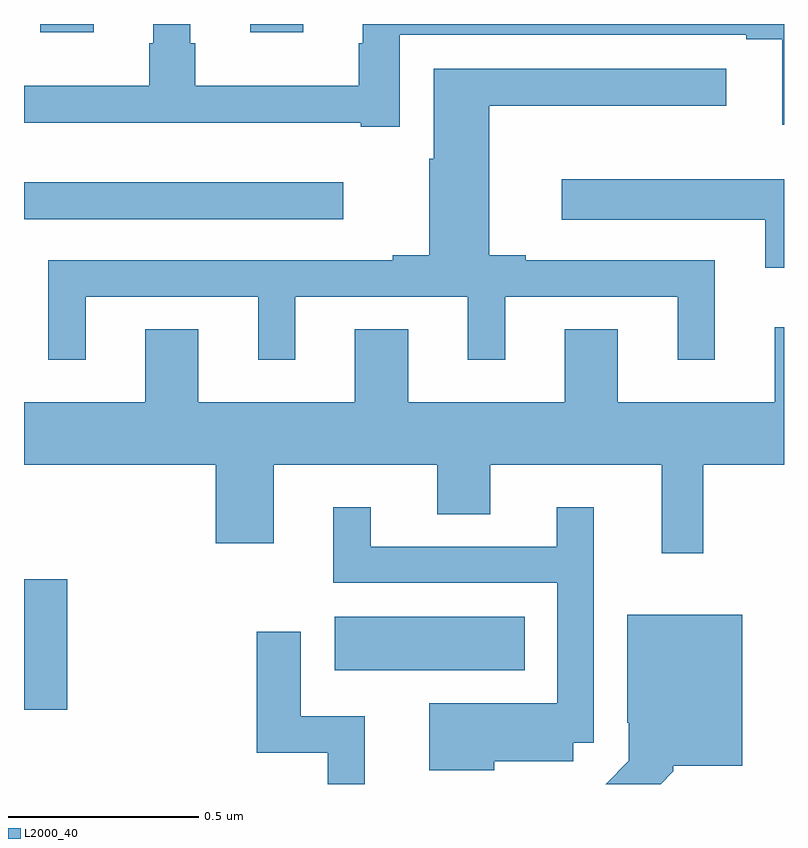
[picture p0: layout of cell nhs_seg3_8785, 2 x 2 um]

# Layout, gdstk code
import gdstk
lib = gdstk.Library(unit=1e-6, precision=1e-09)
def R(c, l, rs):  # rectangles x0, y0, x1, y1
    for r in rs: c.add(gdstk.rectangle(r[:2], r[2:], *l))
def P(c, l, *ps):  # polygons
    for p in ps: c.add(gdstk.Polygon(p, *l))
L2000_40 = (2000, 40)

nhs_seg3_8785 = lib.new_cell('nhs_seg3_8785')
R(nhs_seg3_8785, L2000_40, [(220,709.595,220.114,709.939), (220.818,709.7,221.318,709.84), (220,710.886,220.84,710.983), (220.043,711.378,220.183,711.4), (220.595,711.378,220.735,711.4)])
P(nhs_seg3_8785, L2000_40, [(220.989,711.372),(221.9,711.372),(221.9,711.36),(221.996,711.36),(221.996,711.135),(222,711.135),(222,711.4),(220.892,711.4),(220.892,711.35),(220.881,711.35),(220.881,711.238),(220.45,711.238),(220.45,711.35),(220.438,711.35),(220.438,711.4),(220.34,711.4),(220.34,711.35),(220.329,711.35),(220.329,711.238),(220,711.238),(220,711.14),(220.886,711.14),(220.886,711.129),(220.989,711.129)],
  [(220.162,710.682),(220.616,710.682),(220.616,710.517),(220.714,710.517),(220.714,710.682),(221.168,710.682),(221.168,710.517),(221.266,710.517),(221.266,710.682),(221.72,710.682),(221.72,710.517),(221.818,710.517),(221.818,710.778),(221.32,710.778),(221.32,710.791),(221.224,710.791),(221.224,711.185),(221.848,711.185),(221.848,711.282),(221.078,711.282),(221.078,711.045),(221.066,711.045),(221.066,710.791),(220.97,710.791),(220.97,710.778),(220.064,710.778),(220.064,710.517),(220.162,710.517)],
  [(222,710.992),(221.415,710.992),(221.415,710.885),(221.951,710.885),(221.951,710.759),(222,710.759)],
  [(221.563,710.597),(221.423,710.597),(221.423,710.404),(221.011,710.404),(221.011,710.597),(220.871,710.597),(220.871,710.404),(220.459,710.404),(220.459,710.597),(220.319,710.597),(220.319,710.404),(220,710.404),(220,710.24),(220.505,710.24),(220.505,710.034),(220.657,710.034),(220.657,710.24),(221.087,710.24),(221.087,710.11),(221.227,710.11),(221.227,710.24),(221.678,710.24),(221.678,710.007),(221.788,710.007),(221.788,710.24),(222,710.24),(222,710.602),(221.975,710.602),(221.975,710.404),(221.563,710.404)],
  [(221.238,709.46),(221.445,709.46),(221.445,709.509),(221.499,709.509),(221.499,710.128),(221.402,710.128),(221.402,710.025),(220.912,710.025),(220.912,710.128),(220.814,710.128),(220.814,709.929),(221.403,709.929),(221.403,709.612),(221.066,709.612),(221.066,709.436),(221.238,709.436)],
  [(221.708,709.433),(221.708,709.448),(221.89,709.448),(221.89,709.846),(221.588,709.846),(221.588,709.561),(221.592,709.561),(221.592,709.461),(221.531,709.4),(221.675,709.4)],
  [(220.897,709.578),(220.728,709.578),(220.728,709.801),(220.612,709.801),(220.612,709.482),(220.799,709.482),(220.799,709.4),(220.897,709.4)])

lib.write_gds('nhs_seg3_8785.gds')
